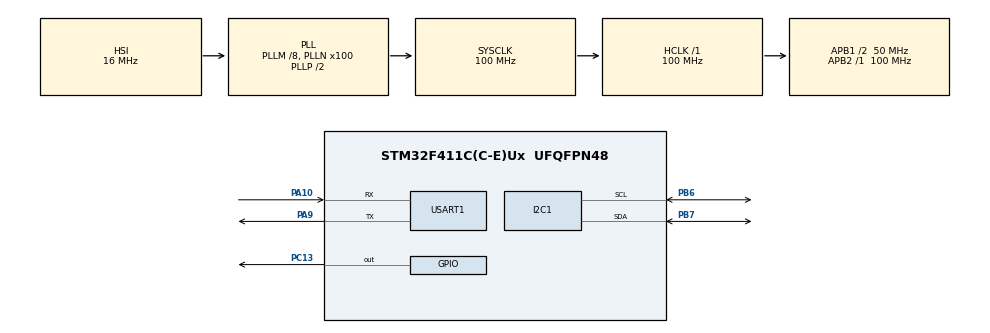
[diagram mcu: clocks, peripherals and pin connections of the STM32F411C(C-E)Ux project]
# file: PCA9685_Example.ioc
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I2C1.I2C_Mode=I2C_Standard
Mcu.Family=STM32F4
Mcu.Name=STM32F411C(C-E)Ux
Mcu.Package=UFQFPN48
NVIC.PriorityGroup=NVIC_PRIORITYGROUP_4
PA10.Mode=Asynchronous
PA10.Signal=USART1_RX
PA13.Mode=Serial_Wire
PA13.Signal=SYS_JTMS-SWDIO
PA14.Mode=Serial_Wire
PA14.Signal=SYS_JTCK-SWCLK
PA9.Mode=Asynchronous
PA9.Signal=USART1_TX
PB6.Mode=I2C
PB6.Signal=I2C1_SCL
PB7.Mode=I2C
PB7.Signal=I2C1_SDA
PC13-ANTI_TAMP.Signal=GPIO_Output
PH0\ -\ OSC_IN.Mode=HSE-External-Oscillator
PH0\ -\ OSC_IN.Signal=RCC_OSC_IN
PH1\ -\ OSC_OUT.Mode=HSE-External-Oscillator
PH1\ -\ OSC_OUT.Signal=RCC_OSC_OUT
ProjectManager.HeapSize=0x200
ProjectManager.StackSize=0x400
ProjectManager.TargetToolchain=STM32CubeIDE
RCC.48MHZClocksFreq_Value=50000000
RCC.AHBFreq_Value=100000000
RCC.APB1CLKDivider=RCC_HCLK_DIV2
RCC.APB1Freq_Value=50000000
RCC.APB1TimFreq_Value=100000000
RCC.APB2Freq_Value=100000000
RCC.APB2TimFreq_Value=100000000
RCC.CortexFreq_Value=100000000
RCC.HCLKFreq_Value=100000000
RCC.HSE_VALUE=25000000
RCC.HSI_VALUE=16000000
RCC.LSE_VALUE=32768
RCC.PLLM=8
RCC.PLLN=100
RCC.SYSCLKFreq_VALUE=100000000
RCC.SYSCLKSource=RCC_SYSCLKSOURCE_PLLCLK
RCC.VCOOutputFreq_Value=200000000
USART1.VirtualMode=VM_ASYNC
board=custom

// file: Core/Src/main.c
/* USER CODE BEGIN Header */
/**
  ******************************************************************************
  * @file           : main.c
  * @brief          : Main program body
  ******************************************************************************
  * @attention
  *
  * Copyright (c) 2026 STMicroelectronics.
  * All rights reserved.
  *
  * This software is licensed under terms that can be found in the LICENSE file
  * in the root directory of this software component.
  * If no LICENSE file comes with this software, it is provided AS-IS.
  *
  ******************************************************************************
  */
/* USER CODE END Header */
#include "main.h"

/* USER CODE BEGIN Includes */
#include "PCA9685.h"
#include "ANSII_Codes.h"
#include <stdio.h>
/* USER CODE END Includes */

/* USER CODE BEGIN PD */
/* -- Parámetros de la batería de pruebas -- */
#define PCA_CANAL_SERVO     0U         /**< Canal con el servo conectado (prueba visual) */
#define PCA_CANAL_EXTREMOS  15U        /**< Canal SIN servo: recibe ciclos de trabajo del 0 al 100 % */
#define PCA_FREQ_SERVO      50U        /**< Frecuencia de trabajo para servos [Hz] */
#define PCA_PERIODO_MS      20U        /**< Intervalo entre pasos del movimiento suave [ms] */
#define PCA_MOV_MS          2000U      /**< Duración de cada movimiento suave [ms] */
/* Retraso tolerado sobre la duración pedida: cada paso suma la escritura I2C y el +1 ms
 * de HAL_Delay. Ajustar si la placa falla con un I2C más lento */
#define PCA_MARGEN_MS       300U
#define PCA_I2C_TIMEOUT     100U       /**< Timeout de las relecturas directas por HAL [ms] */

/* Cuentas OFF que escribe SetServoAngle para 0°, 90° y 180° (0.5 / 1.5 / 2.5 ms a 50 Hz) */
#define PCA_SERVO_0         102U
#define PCA_SERVO_90        307U
#define PCA_SERVO_180       511U

/* PRE_SCALE que escribe Init a 50 Hz: 25 MHz / (4096 * 50) truncado */
#define PCA_PRESCALE_50HZ   122U
/* USER CODE END PD */

/* USER CODE BEGIN PM */
#define PCA_CHECK(x)  do { if ((x) != PCA9685_OK) { Error_Handler(); } } while (0)
/* Para los tests de error: la llamada debe devolver exactamente el estado esperado */
#define PCA_EXPECT(x, st)  do { if ((x) != (st)) { Error_Handler(); } } while (0)

/* USER CODE END PM */

I2C_HandleTypeDef hi2c1;

UART_HandleTypeDef huart1;

/* USER CODE BEGIN PV */
PCA9685_Status_t status;
/* USER CODE END PV */

void SystemClock_Config(void);
static void MX_GPIO_Init(void);
static void MX_I2C1_Init(void);
static void MX_USART1_UART_Init(void);
/* USER CODE BEGIN PFP */
static uint8_t PCA9685_LeerReg(uint8_t reg);
static void PCA9685_CheckCanal(uint8_t ch, uint16_t on, uint16_t off);
static void PCA9685_CheckModo(uint8_t prescale);
static void PCA9685_CheckDuracion(uint32_t t0, uint32_t durationMs);
static void PCA9685_TestSuite(void);
static void PCA9685_TestPreInit(void);
static void PCA9685_TestRegistros(void);
static void PCA9685_TestPWM(void);
static void PCA9685_TestServo(void);
static void PCA9685_TestSmoothMove(void);
static void PCA9685_TestSmoothServo(void);
static void PCA9685_TestErrores(void);
static void PCA9685_TestFrecuencia(void);
static void PCA9685_TestDeInit(void);
/* USER CODE END PFP */

int main(void)
{

  /* MCU Configuration--------------------------------------------------------*/

  /* Reset of all peripherals, Initializes the Flash interface and the Systick. */
  HAL_Init();

  /* Configure the system clock */
  SystemClock_Config();

  /* Initialize all configured peripherals */
  MX_GPIO_Init();
  MX_I2C1_Init();
  MX_USART1_UART_Init();
  /* USER CODE BEGIN 2 */
  printf(CLEAR_SCREEN CURSOR_HOME COLOR_BOLD COLOR_CYAN "PCA9685 TEST" COLOR_RESET "\r\n");
  PCA9685_TestPreInit();

  status = PCA9685_Init(&hi2c1, PCA_FREQ_SERVO);
  if(status != PCA9685_OK)
  {
	  Error_Handler();
  }
  else
  {
	  HAL_GPIO_WritePin(GPIOC, GPIO_PIN_13, GPIO_PIN_RESET);
  }
  /* USER CODE END 2 */

  /* Infinite loop */
  /* USER CODE BEGIN WHILE */
  while (1)
  {
	  PCA9685_TestSuite();
    /* USER CODE END WHILE */

  }
}

void SystemClock_Config(void)
{
  RCC_OscInitTypeDef RCC_OscInitStruct = {0};
  RCC_ClkInitTypeDef RCC_ClkInitStruct = {0};

  /** Configure the main internal regulator output voltage
  */
  __HAL_RCC_PWR_CLK_ENABLE();
  __HAL_PWR_VOLTAGESCALING_CONFIG(PWR_REGULATOR_VOLTAGE_SCALE1);

  /** Initializes the RCC Oscillators according to the specified parameters
  * in the RCC_OscInitTypeDef structure.
  */
  RCC_OscInitStruct.OscillatorType = RCC_OSCILLATORTYPE_HSI;
  RCC_OscInitStruct.HSIState = RCC_HSI_ON;
  RCC_OscInitStruct.HSICalibrationValue = RCC_HSICALIBRATION_DEFAULT;
  RCC_OscInitStruct.PLL.PLLState = RCC_PLL_ON;
  RCC_OscInitStruct.PLL.PLLSource = RCC_PLLSOURCE_HSI;
  RCC_OscInitStruct.PLL.PLLM = 8;
  RCC_OscInitStruct.PLL.PLLN = 100;
  RCC_OscInitStruct.PLL.PLLP = RCC_PLLP_DIV2;
  RCC_OscInitStruct.PLL.PLLQ = 4;
  if (HAL_RCC_OscConfig(&RCC_OscInitStruct) != HAL_OK)
  {
    Error_Handler();
  }

  /** Initializes the CPU, AHB and APB buses clocks
  */
  RCC_ClkInitStruct.ClockType = RCC_CLOCKTYPE_HCLK|RCC_CLOCKTYPE_SYSCLK
                              |RCC_CLOCKTYPE_PCLK1|RCC_CLOCKTYPE_PCLK2;
  RCC_ClkInitStruct.SYSCLKSource = RCC_SYSCLKSOURCE_PLLCLK;
  RCC_ClkInitStruct.AHBCLKDivider = RCC_SYSCLK_DIV1;
  RCC_ClkInitStruct.APB1CLKDivider = RCC_HCLK_DIV2;
  RCC_ClkInitStruct.APB2CLKDivider = RCC_HCLK_DIV1;

  if (HAL_RCC_ClockConfig(&RCC_ClkInitStruct, FLASH_LATENCY_3) != HAL_OK)
  {
    Error_Handler();
  }
}

static void MX_I2C1_Init(void)
{

  hi2c1.Instance = I2C1;
  hi2c1.Init.ClockSpeed = 100000;
  hi2c1.Init.DutyCycle = I2C_DUTYCYCLE_2;
  hi2c1.Init.OwnAddress1 = 0;
  hi2c1.Init.AddressingMode = I2C_ADDRESSINGMODE_7BIT;
  hi2c1.Init.DualAddressMode = I2C_DUALADDRESS_DISABLE;
  hi2c1.Init.OwnAddress2 = 0;
  hi2c1.Init.GeneralCallMode = I2C_GENERALCALL_DISABLE;
  hi2c1.Init.NoStretchMode = I2C_NOSTRETCH_DISABLE;
  if (HAL_I2C_Init(&hi2c1) != HAL_OK)
  {
    Error_Handler();
  }

}

static void MX_USART1_UART_Init(void)
{

  huart1.Instance = USART1;
  huart1.Init.BaudRate = 115200;
  huart1.Init.WordLength = UART_WORDLENGTH_8B;
  huart1.Init.StopBits = UART_STOPBITS_1;
  huart1.Init.Parity = UART_PARITY_NONE;
  huart1.Init.Mode = UART_MODE_TX_RX;
  huart1.Init.HwFlowCtl = UART_HWCONTROL_NONE;
  huart1.Init.OverSampling = UART_OVERSAMPLING_16;
  if (HAL_UART_Init(&huart1) != HAL_OK)
  {
    Error_Handler();
  }

}

static void MX_GPIO_Init(void)
{
  GPIO_InitTypeDef GPIO_InitStruct = {0};

  /* GPIO Ports Clock Enable */
  __HAL_RCC_GPIOC_CLK_ENABLE();
  __HAL_RCC_GPIOH_CLK_ENABLE();
  __HAL_RCC_GPIOA_CLK_ENABLE();
  __HAL_RCC_GPIOB_CLK_ENABLE();

  /*Configure GPIO pin Output Level */
  HAL_GPIO_WritePin(GPIOC, GPIO_PIN_13, GPIO_PIN_RESET);

  /*Configure GPIO pin : PC13 */
  GPIO_InitStruct.Pin = GPIO_PIN_13;
  GPIO_InitStruct.Mode = GPIO_MODE_OUTPUT_PP;
  GPIO_InitStruct.Pull = GPIO_NOPULL;
  GPIO_InitStruct.Speed = GPIO_SPEED_FREQ_LOW;
  HAL_GPIO_Init(GPIOC, &GPIO_InitStruct);

}

/* USER CODE BEGIN 4 */

/* printf por USART1 (PA9): syscalls.c redirige _write a esta función débil */
int __io_putchar(int ch)
{
	uint8_t c = (uint8_t)ch;
	HAL_UART_Transmit(&huart1, &c, 1, HAL_MAX_DELAY);
	return ch;
}

/* La librería no tiene lecturas: se relee el chip directamente por HAL para
 * comprobar lo que de verdad quedó escrito en sus registros */
static uint8_t PCA9685_LeerReg(uint8_t reg)
{
	uint8_t v;

	if (HAL_I2C_Mem_Read(&hi2c1, PCA9685_ADDRESS, reg, I2C_MEMADD_SIZE_8BIT, &v, 1, PCA_I2C_TIMEOUT) != HAL_OK)
	{
		Error_Handler();
	}
	return v;
}

/* LEDn_ON_L..LEDn_OFF_H de un canal en una sola lectura de 4 bytes (requiere auto-incremento) */
static void PCA9685_CheckCanal(uint8_t ch, uint16_t on, uint16_t off)
{
	uint8_t r[4];

	if (HAL_I2C_Mem_Read(&hi2c1, PCA9685_ADDRESS, PCA9685_LED0_ON_L + 4U * ch, I2C_MEMADD_SIZE_8BIT,
						 r, sizeof(r), PCA_I2C_TIMEOUT) != HAL_OK)
	{
		Error_Handler();
	}
	if ((uint16_t)(r[0] | (r[1] << 8)) != on || (uint16_t)(r[2] | (r[3] << 8)) != off)
	{
		Error_Handler();
	}
}

/* Tras un Init: PRE_SCALE programado, auto-incremento activo y fuera de sleep (oscilador en marcha) */
static void PCA9685_CheckModo(uint8_t prescale)
{
	const uint8_t mode1 = PCA9685_LeerReg(PCA9685_MODE1);
	const uint8_t pre   = PCA9685_LeerReg(PCA9685_PRE_SCALE);

	printf("MODE1=0x%02X PRE_SCALE=%u\r\n", mode1, pre);
	if (pre != prescale ||
		(mode1 & (1U << PCA9685_MODE1_AI_BIT)) == 0U ||
		(mode1 & (1U << PCA9685_MODE1_SLEEP_BIT)) != 0U)
	{
		Error_Handler();
	}
}

/* Un movimiento suave nunca dura menos de lo pedido, y como mucho PCA_MARGEN_MS más */
static void PCA9685_CheckDuracion(uint32_t t0, uint32_t durationMs)
{
	const uint32_t dt = HAL_GetTick() - t0;

	printf("Duracion: %lu ms (pedido %lu ms)\r\n", dt, durationMs);
	if (dt < durationMs || dt > durationMs + PCA_MARGEN_MS)
	{
		Error_Handler();
	}
}

static void PCA9685_TestSuite(void)
{
	PCA9685_TestRegistros();
	HAL_Delay(2000);

	PCA9685_TestPWM();
	HAL_Delay(2000);

	PCA9685_TestServo();
	HAL_Delay(2000);

	PCA9685_TestSmoothMove();
	HAL_Delay(2000);

	PCA9685_TestSmoothServo();
	HAL_Delay(2000);

	PCA9685_TestErrores();
	HAL_Delay(2000);

	PCA9685_TestFrecuencia();
	HAL_Delay(2000);

	PCA9685_TestDeInit();
	HAL_Delay(2000);
}

static void PCA9685_TestPreInit(void)
{
	Servo_Smooth_t s;

	/* -- Antes de Init: todo devuelve NOT_INITIALIZED sin tocar el bus (SmoothMove sale
	 *    en el primer SetServoAngle, sin esperar la duración del movimiento) -- */
	PCA_EXPECT(PCA9685_SetPWM(PCA_CANAL_SERVO, 0, PCA_SERVO_90), PCA9685_NOT_INITIALIZED);
	PCA_EXPECT(PCA9685_SetServoAngle(PCA_CANAL_SERVO, 90.0f), PCA9685_NOT_INITIALIZED);
	PCA_EXPECT(PCA9685_InitSmoothServo(&s, PCA_CANAL_SERVO, 90.0f, PCA_PERIODO_MS), PCA9685_NOT_INITIALIZED);
	PCA_EXPECT(PCA9685_SmoothMove(PCA_CANAL_SERVO, 0.0f, 180.0f, PCA_MOV_MS, PCA_PERIODO_MS), PCA9685_NOT_INITIALIZED);

	/* DeInit sobre un driver sin inicializar es inofensivo */
	PCA_CHECK(PCA9685_DeInit());
}

static void PCA9685_TestRegistros(void)
{
	/* -- Init a 50 Hz: el chip debe tener el PRE_SCALE de 50 Hz, AI = 1 y SLEEP = 0 -- */
	printf(COLOR_YELLOW "[Registros]" COLOR_RESET "\r\n");
	PCA9685_CheckModo(PCA_PRESCALE_50HZ);
}

static void PCA9685_TestPWM(void)
{
	/* -- SetPWM en los 16 canales con ON y OFF distintos por canal. Se escriben todos antes de
	 *    releer, así una escritura en el canal equivocado pisa a otro y se detecta. El pulso es
	 *    siempre de 1.5 ms (OFF - ON = 307): un servo en cualquier canal se queda centrado -- */
	printf(COLOR_YELLOW "[PWM]" COLOR_RESET "\r\n");
	for (uint8_t ch = 0; ch < 16U; ch++)
	{
		PCA_CHECK(PCA9685_SetPWM(ch, ch * 8U, ch * 8U + PCA_SERVO_90));
	}
	for (uint8_t ch = 0; ch < 16U; ch++)
	{
		PCA9685_CheckCanal(ch, ch * 8U, ch * 8U + PCA_SERVO_90);
		printf("Canal %2u ON=%4u OFF=%4u\r\n", ch, ch * 8U, ch * 8U + PCA_SERVO_90);
	}

	/* -- Extremos del rango 0..4095 en ON y en OFF -- */
	PCA_CHECK(PCA9685_SetPWM(PCA_CANAL_EXTREMOS, 0, 4095));
	PCA9685_CheckCanal(PCA_CANAL_EXTREMOS, 0, 4095);
	PCA_CHECK(PCA9685_SetPWM(PCA_CANAL_EXTREMOS, 4095, 0));
	PCA9685_CheckCanal(PCA_CANAL_EXTREMOS, 4095, 0);
	printf(COLOR_GREEN "PWM OK" COLOR_RESET "\r\n");
}

static void PCA9685_TestServo(void)
{
	static const float    angulos[] = { 0.0f, 90.0f, 180.0f };
	static const uint16_t cuentas[] = { PCA_SERVO_0, PCA_SERVO_90, PCA_SERVO_180 };

	/* -- SetServoAngle: 0°, 90° y 180° dan 0.5, 1.5 y 2.5 ms. El servo debe recorrer todo su giro -- */
	printf(COLOR_YELLOW "[Servo]" COLOR_RESET "\r\n");
	for (uint8_t i = 0; i < 3U; i++)
	{
		PCA_CHECK(PCA9685_SetServoAngle(PCA_CANAL_SERVO, angulos[i]));
		PCA9685_CheckCanal(PCA_CANAL_SERVO, 0, cuentas[i]);
		printf("%3u grados -> OFF=%u\r\n", (unsigned)angulos[i], cuentas[i]);
		HAL_Delay(1000);
	}

	/* -- Fuera de 0..180 se recorta al extremo sin devolver error -- */
	PCA_CHECK(PCA9685_SetServoAngle(PCA_CANAL_SERVO, -10.0f));
	PCA9685_CheckCanal(PCA_CANAL_SERVO, 0, PCA_SERVO_0);
	HAL_Delay(1000);
	PCA_CHECK(PCA9685_SetServoAngle(PCA_CANAL_SERVO, 200.0f));
	PCA9685_CheckCanal(PCA_CANAL_SERVO, 0, PCA_SERVO_180);
	HAL_Delay(1000);
}

static void PCA9685_TestSmoothMove(void)
{
	uint32_t t0;

	/* -- SmoothMove bloqueante: 0° -> 180° y vuelta en PCA_MOV_MS cada uno, sin tirones.
	 *    Debe durar lo pedido y terminar exactamente en el ángulo final -- */
	printf(COLOR_YELLOW "[SmoothMove]" COLOR_RESET "\r\n");
	t0 = HAL_GetTick();
	PCA_CHECK(PCA9685_SmoothMove(PCA_CANAL_SERVO, 0.0f, 180.0f, PCA_MOV_MS, PCA_PERIODO_MS));
	PCA9685_CheckDuracion(t0, PCA_MOV_MS);
	PCA9685_CheckCanal(PCA_CANAL_SERVO, 0, PCA_SERVO_180);

	t0 = HAL_GetTick();
	PCA_CHECK(PCA9685_SmoothMove(PCA_CANAL_SERVO, 180.0f, 0.0f, PCA_MOV_MS, PCA_PERIODO_MS));
	PCA9685_CheckDuracion(t0, PCA_MOV_MS);
	PCA9685_CheckCanal(PCA_CANAL_SERVO, 0, PCA_SERVO_0);

	/* -- Duración menor que un intervalo: salto inmediato al ángulo final -- */
	t0 = HAL_GetTick();
	PCA_CHECK(PCA9685_SmoothMove(PCA_CANAL_SERVO, 0.0f, 90.0f, PCA_PERIODO_MS - 1U, PCA_PERIODO_MS));
	PCA9685_CheckDuracion(t0, 0);
	PCA9685_CheckCanal(PCA_CANAL_SERVO, 0, PCA_SERVO_90);
}

static void PCA9685_TestSmoothServo(void)
{
	Servo_Smooth_t s;
	uint32_t t0;

	/* -- InitSmoothServo coloca el servo en el ángulo inicial, parado -- */
	printf(COLOR_YELLOW "[SmoothServo]" COLOR_RESET "\r\n");
	PCA_CHECK(PCA9685_InitSmoothServo(&s, PCA_CANAL_SERVO, 0.0f, PCA_PERIODO_MS));
	PCA9685_CheckCanal(PCA_CANAL_SERVO, 0, PCA_SERVO_0);
	if (s.isMoving)
	{
		Error_Handler();
	}
	HAL_Delay(1000);

	/* -- SetSmoothAngle + UpdateSmoothServo en bucle: 0° -> 180° sin bloquear. El bucle podría
	 *    atender otras tareas entre llamadas; el timeout evita colgarse si nunca termina -- */
	t0 = HAL_GetTick();
	PCA_CHECK(PCA9685_SetSmoothAngle(&s, 180.0f, PCA_MOV_MS));
	if (!s.isMoving)
	{
		Error_Handler();
	}
	while (!PCA9685_UpdateSmoothServo(&s))
	{
		if (HAL_GetTick() - t0 > PCA_MOV_MS + PCA_MARGEN_MS)
		{
			Error_Handler();
		}
	}
	PCA9685_CheckDuracion(t0, PCA_MOV_MS);
	if (s.lastError != PCA9685_OK || s.isMoving || s.currentAngle != 180.0f)
	{
		Error_Handler();
	}
	PCA9685_CheckCanal(PCA_CANAL_SERVO, 0, PCA_SERVO_180);

	/* -- Ya parado: Update devuelve true enseguida -- */
	if (!PCA9685_UpdateSmoothServo(&s))
	{
		Error_Handler();
	}

	/* -- Duración 0: salto directo al objetivo (recortado a 0..180), sin quedar en movimiento -- */
	PCA_CHECK(PCA9685_SetSmoothAngle(&s, -50.0f, 0));
	if (s.isMoving || s.currentAngle != 0.0f)
	{
		Error_Handler();
	}
	PCA9685_CheckCanal(PCA_CANAL_SERVO, 0, PCA_SERVO_0);
	HAL_Delay(1000);

	PCA_CHECK(PCA9685_SetSmoothAngle(&s, 90.0f, 0));
	PCA9685_CheckCanal(PCA_CANAL_SERVO, 0, PCA_SERVO_90);
}

static void PCA9685_TestErrores(void)
{
	Servo_Smooth_t s;

	/* -- SetPWM / SetServoAngle: canal > 15 o tiempos > 4095 se rechazan sin escribir nada
	 *    (el canal del servo conserva su valor) -- */
	printf(COLOR_YELLOW "[Errores]" COLOR_RESET "\r\n");
	PCA_CHECK(PCA9685_SetServoAngle(PCA_CANAL_SERVO, 90.0f));
	PCA_EXPECT(PCA9685_SetPWM(16, 0, PCA_SERVO_90), PCA9685_INVALID_PARAM);
	PCA_EXPECT(PCA9685_SetPWM(PCA_CANAL_SERVO, 4096, 0), PCA9685_INVALID_PARAM);
	PCA_EXPECT(PCA9685_SetPWM(PCA_CANAL_SERVO, 0, 4096), PCA9685_INVALID_PARAM);
	PCA_EXPECT(PCA9685_SetServoAngle(16, 90.0f), PCA9685_INVALID_PARAM);
	PCA9685_CheckCanal(PCA_CANAL_SERVO, 0, PCA_SERVO_90);

	/* -- Funciones de movimiento suave: devuelven PCA9685_ERROR (no INVALID_PARAM) -- */
	PCA_EXPECT(PCA9685_InitSmoothServo(NULL, PCA_CANAL_SERVO, 90.0f, PCA_PERIODO_MS), PCA9685_ERROR);
	PCA_EXPECT(PCA9685_InitSmoothServo(&s, 16, 90.0f, PCA_PERIODO_MS), PCA9685_ERROR);
	PCA_EXPECT(PCA9685_InitSmoothServo(&s, PCA_CANAL_SERVO, -1.0f, PCA_PERIODO_MS), PCA9685_ERROR);
	PCA_EXPECT(PCA9685_InitSmoothServo(&s, PCA_CANAL_SERVO, 181.0f, PCA_PERIODO_MS), PCA9685_ERROR);
	PCA_EXPECT(PCA9685_InitSmoothServo(&s, PCA_CANAL_SERVO, 90.0f, 0), PCA9685_ERROR);
	PCA_EXPECT(PCA9685_SetSmoothAngle(NULL, 90.0f, PCA_MOV_MS), PCA9685_ERROR);
	PCA_EXPECT(PCA9685_SmoothMove(16, 0.0f, 180.0f, PCA_MOV_MS, PCA_PERIODO_MS), PCA9685_ERROR);
	PCA_EXPECT(PCA9685_SmoothMove(PCA_CANAL_SERVO, 0.0f, 180.0f, PCA_MOV_MS, 0), PCA9685_ERROR);
	/* Update con NULL devuelve true para no colgar el bucle de quien lo llama */
	if (!PCA9685_UpdateSmoothServo(NULL))
	{
		Error_Handler();
	}
	PCA9685_CheckCanal(PCA_CANAL_SERVO, 0, PCA_SERVO_90);

	/* -- Init con handle NULL o frecuencia fuera de 24..1526 Hz: se rechaza sin tocar el chip
	 *    ni el estado, el driver sigue funcionando a 50 Hz -- */
	PCA_EXPECT(PCA9685_Init(NULL, PCA_FREQ_SERVO), PCA9685_INVALID_PARAM);
	PCA_EXPECT(PCA9685_Init(&hi2c1, 23), PCA9685_INVALID_PARAM);
	PCA_EXPECT(PCA9685_Init(&hi2c1, 1527), PCA9685_INVALID_PARAM);
	PCA9685_CheckModo(PCA_PRESCALE_50HZ);
	PCA_CHECK(PCA9685_SetServoAngle(PCA_CANAL_SERVO, 90.0f));
	printf(COLOR_GREEN "Errores OK" COLOR_RESET "\r\n");
}

static void PCA9685_TestFrecuencia(void)
{
	/* PRE_SCALE esperado: 25 MHz / (4096 * f) truncado; los extremos los fija la librería */
	static const struct { uint16_t f; uint8_t pre; } tabla[] = {
		{ 1000U, 6U },
		{ 24U,   0xFFU },
		{ 1526U, 0x03U },
		{ PCA_FREQ_SERVO, PCA_PRESCALE_50HZ },   /* Restaura la frecuencia de trabajo */
	};

	/* -- Antes de cambiar la frecuencia se dejan las 16 salidas a nivel bajo (ON = OFF = 0):
	 *    un servo no debe recibir PWM a 24 Hz ni a 1 kHz -- */
	printf(COLOR_YELLOW "[Frecuencia]" COLOR_RESET "\r\n");
	for (uint8_t ch = 0; ch < 16U; ch++)
	{
		PCA_CHECK(PCA9685_SetPWM(ch, 0, 0));
	}

	/* -- Re-Init a otras frecuencias, incluidos los límites 24 y 1526 Hz. Init no borra los canales -- */
	for (uint8_t i = 0; i < sizeof(tabla) / sizeof(tabla[0]); i++)
	{
		PCA_CHECK(PCA9685_Init(&hi2c1, tabla[i].f));
		printf("%4u Hz -> ", tabla[i].f);
		PCA9685_CheckModo(tabla[i].pre);
		PCA9685_CheckCanal(PCA_CANAL_SERVO, 0, 0);
	}

	PCA_CHECK(PCA9685_SetServoAngle(PCA_CANAL_SERVO, 90.0f));
	printf(COLOR_GREEN "Frecuencia OK" COLOR_RESET "\r\n");
}

static void PCA9685_TestDeInit(void)
{
	Servo_Smooth_t s;

	/* -- DeInit libera el handle: las llamadas posteriores devuelven NOT_INITIALIZED.
	 *    Repetirlo sigue devolviendo OK -- */
	printf(COLOR_YELLOW "[DeInit]" COLOR_RESET "\r\n");
	PCA_CHECK(PCA9685_DeInit());
	PCA_CHECK(PCA9685_DeInit());
	PCA_EXPECT(PCA9685_SetPWM(PCA_CANAL_SERVO, 0, PCA_SERVO_0), PCA9685_NOT_INITIALIZED);
	PCA_EXPECT(PCA9685_SetServoAngle(PCA_CANAL_SERVO, 0.0f), PCA9685_NOT_INITIALIZED);
	PCA_EXPECT(PCA9685_InitSmoothServo(&s, PCA_CANAL_SERVO, 0.0f, PCA_PERIODO_MS), PCA9685_NOT_INITIALIZED);
	PCA_EXPECT(PCA9685_SmoothMove(PCA_CANAL_SERVO, 90.0f, 0.0f, PCA_MOV_MS, PCA_PERIODO_MS), PCA9685_NOT_INITIALIZED);

	/* -- DeInit no toca el chip: sigue generando PWM y el servo se queda a 90° -- */
	PCA9685_CheckCanal(PCA_CANAL_SERVO, 0, PCA_SERVO_90);

	/* -- Re-Init: el driver debe poder arrancar de nuevo tras un DeInit -- */
	PCA_CHECK(PCA9685_Init(&hi2c1, PCA_FREQ_SERVO));
	PCA9685_CheckModo(PCA_PRESCALE_50HZ);
	PCA_CHECK(PCA9685_SetServoAngle(PCA_CANAL_SERVO, 90.0f));
	PCA9685_CheckCanal(PCA_CANAL_SERVO, 0, PCA_SERVO_90);
	printf(COLOR_GREEN "Re-Init OK" COLOR_RESET "\r\n");
}

/* USER CODE END 4 */

void Error_Handler(void)
{
  /* USER CODE BEGIN Error_Handler_Debug */
  /* User can add his own implementation to report the HAL error return state */
  /* Si la UART aún no está inicializada, HAL_UART_Transmit devuelve BUSY sin bloquear */
  printf(COLOR_BOLD COLOR_RED "\r\nERROR: prueba fallida" COLOR_RESET "\r\n");
  while (1)
  {
	  HAL_GPIO_TogglePin(GPIOC, GPIO_PIN_13);
	  HAL_Delay(200);
  }
  /* USER CODE END Error_Handler_Debug */
}
